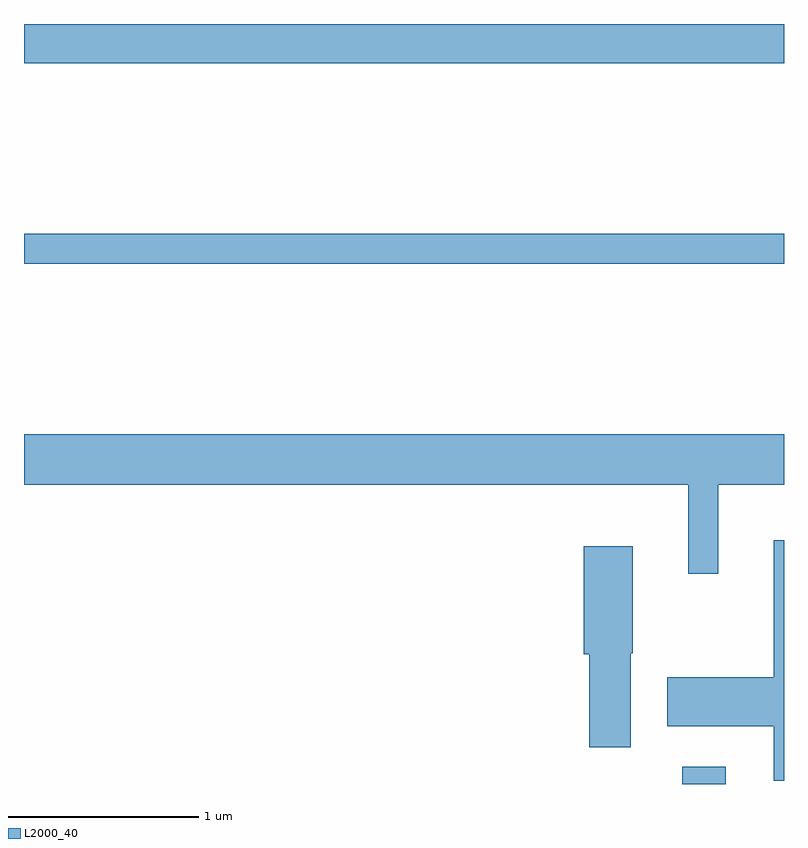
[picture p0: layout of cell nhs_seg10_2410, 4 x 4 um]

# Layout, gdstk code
import gdstk
lib = gdstk.Library(unit=1e-6, precision=1e-09)
def R(c, l, rs):  # rectangles x0, y0, x1, y1
    for r in rs: c.add(gdstk.rectangle(r[:2], r[2:], *l))
def P(c, l, *ps):  # polygons
    for p in ps: c.add(gdstk.Polygon(p, *l))
L2000_40 = (2000, 40)

nhs_seg10_2410 = lib.new_cell('nhs_seg10_2410')
R(nhs_seg10_2410, L2000_40, [(259.076,2154.522,259.304,2154.614), (255.611,2157.261,259.611,2157.419), (255.611,2158.316,259.611,2158.522)])
P(nhs_seg10_2410, L2000_40, [(259.264,2156.096),(259.611,2156.096),(259.611,2156.364),(255.611,2156.364),(255.611,2156.096),(259.106,2156.096),(259.106,2155.628),(259.264,2155.628)],
  [(259.611,2155.804),(259.556,2155.804),(259.556,2155.084),(258.996,2155.084),(258.996,2154.826),(259.556,2154.826),(259.556,2154.538),(259.611,2154.538)],
  [(258.804,2155.21),(258.814,2155.21),(258.814,2155.774),(258.556,2155.774),(258.556,2155.206),(258.586,2155.206),(258.586,2154.716),(258.804,2154.716)])

lib.write_gds('nhs_seg10_2410.gds')
